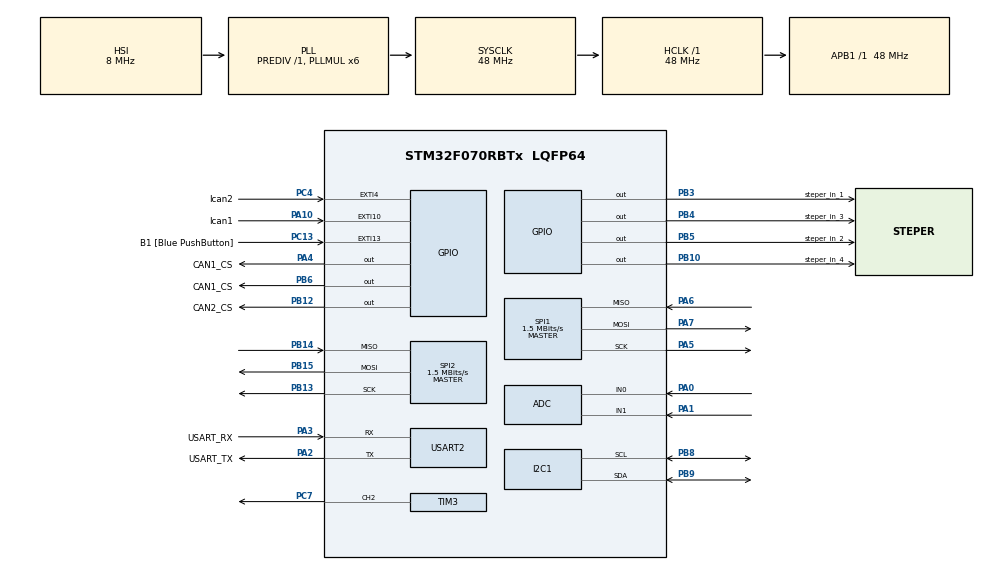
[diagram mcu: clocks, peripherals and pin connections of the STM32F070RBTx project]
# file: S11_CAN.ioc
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ADC.ContinuousConvMode=ENABLE
ADC.SamplingTime=ADC_SAMPLETIME_41CYCLES_5
FREERTOS.BinarySemaphores01=uart_tx_sem,Dynamic,NULL;CAN_sem,Dynamic,NULL
FREERTOS.Queues01=uart_rx_queue,4,uint8_t,0,Dynamic,NULL,NULL
FREERTOS.Tasks01=defaultTask,8,128,StartDefaultTask,Default,NULL,Dynamic,NULL,NULL;uart_rx,32,128,uart_rx_task,Default,NULL,Dynamic,NULL,NULL;adc,24,128,adc_task,Default,NULL,Dynamic,NULL,NULL;stepper,24,128,stepper_task,Default,NULL,Dynamic,NULL,NULL;servo,24,128,servo_Task,Default,NULL,Dynamic,NULL,NULL;enviar_estado,24,128,enviar_estado_Task,Default,NULL,Dynamic,NULL,NULL;enviar_tmp,24,128,enviar_tmp_task,Default,NULL,Dynamic,NULL,NULL;oled,24,128,oled_Task,Default,NULL,Dynamic,NULL,NULL;CAN_remote,24,128,CAN_remote_task,Default,NULL,Dynamic,NULL,NULL
FREERTOS.configTOTAL_HEAP_SIZE=8000
FREERTOS.configUSE_NEWLIB_REENTRANT=1
Mcu.Family=STM32F0
Mcu.Name=STM32F070RBTx
Mcu.Package=LQFP64
NVIC.EXTI4_15_IRQn=true\:3\:0\:false\:false\:true\:true\:true\:true
NVIC.TIM1_BRK_UP_TRG_COM_IRQn=true\:0\:0\:false\:false\:true\:false\:false\:true
NVIC.TimeBase=TIM1_BRK_UP_TRG_COM_IRQn
NVIC.TimeBaseIP=TIM1
NVIC.USART2_IRQn=true\:3\:0\:false\:false\:true\:true\:true\:true
PA0.Mode=IN0
PA0.Signal=ADC_IN0
PA1.Mode=IN1
PA1.Signal=ADC_IN1
PA10.GPIO_Label=Ican1
PA10.GPIO_PuPd=GPIO_PULLDOWN
PA10.Signal=GPXTI10
PA13.GPIO_Label=TMS
PA13.Mode=Serial_Wire
PA13.Signal=SYS_SWDIO
PA14.GPIO_Label=TCK
PA14.Mode=Serial_Wire
PA14.Signal=SYS_SWCLK
PA2.GPIO_Label=USART_TX
PA2.Mode=Asynchronous
PA2.Signal=USART2_TX
PA3.GPIO_Label=USART_RX
PA3.Mode=Asynchronous
PA3.Signal=USART2_RX
PA4.GPIO_Label=CAN1_CS
PA4.Signal=GPIO_Output
PA5.Mode=Full_Duplex_Master
PA5.Signal=SPI1_SCK
PA6.Mode=Full_Duplex_Master
PA6.Signal=SPI1_MISO
PA7.Mode=Full_Duplex_Master
PA7.Signal=SPI1_MOSI
PB10.GPIO_Label=steper_in_4
PB10.Signal=GPIO_Output
PB12.GPIO_Label=CAN2_CS
PB12.Signal=GPIO_Output
PB13.Mode=Full_Duplex_Master
PB13.Signal=SPI2_SCK
PB14.Mode=Full_Duplex_Master
PB14.Signal=SPI2_MISO
PB15.Mode=Full_Duplex_Master
PB15.Signal=SPI2_MOSI
PB3.GPIO_Label=steper_in_1
PB3.Signal=GPIO_Output
PB4.GPIO_Label=steper_in_3
PB4.Signal=GPIO_Output
PB5.GPIO_Label=steper_in_2
PB5.Signal=GPIO_Output
PB6.GPIO_Label=CAN1_CS
PB6.Signal=GPIO_Output
PB8.GPIO_PuPdOD=GPIO_NOPULL
PB8.Mode=I2C
PB8.Signal=I2C1_SCL
PB9.GPIO_PuPdOD=GPIO_NOPULL
PB9.Mode=I2C
PB9.Signal=I2C1_SDA
PC13.GPIO_Label=B1 [Blue PushButton]
PC13.GPIO_ModeDefaultEXTI=GPIO_MODE_IT_FALLING
PC13.Signal=GPXTI13
PC14-OSC32_IN.GPIO_Label=RCC_OSC32_IN
PC14-OSC32_IN.Mode=LSE-External-Oscillator
PC14-OSC32_IN.Signal=RCC_OSC32_IN
PC15-OSC32_OUT.GPIO_Label=RCC_OSC32_OUT
PC15-OSC32_OUT.Mode=LSE-External-Oscillator
PC15-OSC32_OUT.Signal=RCC_OSC32_OUT
PC4.GPIO_Label=Ican2
PC4.GPIO_PuPd=GPIO_PULLDOWN
PC4.Signal=GPXTI4
PC7.Signal=S_TIM3_CH2
PF0-OSC_IN.GPIO_Label=RCC_OSC_IN
PF0-OSC_IN.Mode=HSE-External-Clock-Source
PF0-OSC_IN.Signal=RCC_OSC_IN
PF1-OSC_OUT.GPIO_Label=RCC_OSC_OUT
PF1-OSC_OUT.Signal=RCC_OSC_OUT
ProjectManager.HeapSize=0x200
ProjectManager.StackSize=0x400
ProjectManager.TargetToolchain=STM32CubeIDE
RCC.AHBFreq_Value=48000000
RCC.APB1Freq_Value=48000000
RCC.APB1TimFreq_Value=48000000
RCC.HCLKFreq_Value=48000000
RCC.PLLMUL=RCC_PLL_MUL6
RCC.SYSCLKFreq_VALUE=48000000
RCC.SYSCLKSource=RCC_SYSCLKSOURCE_PLLCLK
SH.S_TIM3_CH2.0=TIM3_CH2,PWM Generation2 CH2
SPI1.BaudRatePrescaler=SPI_BAUDRATEPRESCALER_32
SPI1.CalculateBaudRate=1.5 MBits/s
SPI1.DataSize=SPI_DATASIZE_8BIT
SPI1.Direction=SPI_DIRECTION_2LINES
SPI1.Mode=SPI_MODE_MASTER
SPI1.NSSPMode=SPI_NSS_PULSE_DISABLE
SPI1.VirtualType=VM_MASTER
SPI2.BaudRatePrescaler=SPI_BAUDRATEPRESCALER_32
SPI2.CalculateBaudRate=1.5 MBits/s
SPI2.DataSize=SPI_DATASIZE_8BIT
SPI2.Direction=SPI_DIRECTION_2LINES
SPI2.Mode=SPI_MODE_MASTER
SPI2.NSSPMode=SPI_NSS_PULSE_DISABLE
SPI2.VirtualType=VM_MASTER
TIM3.Channel-PWM\ Generation2\ CH2=TIM_CHANNEL_2
TIM3.Period=19999
TIM3.Prescaler=47
USART2.VirtualMode-Asynchronous=VM_ASYNC
VP_FREERTOS_VS_CMSIS_V2.Mode=CMSIS_V2
VP_SYS_VS_tim1.Mode=TIM1
VP_TIM3_VS_ClockSourceINT.Mode=Internal
board=NUCLEO-F070RB

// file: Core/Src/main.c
/* USER CODE BEGIN Header */
/**
  ******************************************************************************
  * @file           : main.c
  * @brief          : Main program body
  ******************************************************************************
  * @attention
  *
  * <h2><center>&copy; Copyright (c) 2021 STMicroelectronics.
  * All rights reserved.</center></h2>
  *
  * This software component is licensed by ST under BSD 3-Clause license,
  * the "License"; You may not use this file except in compliance with the
  * License. You may obtain a copy of the License at:
  *                        opensource.org/licenses/BSD-3-Clause
  *
  ******************************************************************************
  */
/* USER CODE END Header */
#include "main.h"
#include "cmsis_os.h"

/* USER CODE BEGIN Includes */
#include "stdio.h"
#include "stdbool.h"
#include "ssd1306.h"
#include "CANSPI.h"
/* USER CODE END Includes */

/* USER CODE BEGIN PD */
#define CAN1 &hspi1
#define CAN2 &hspi2
/* USER CODE END PD */

ADC_HandleTypeDef hadc;

I2C_HandleTypeDef hi2c1;

SPI_HandleTypeDef hspi1;
SPI_HandleTypeDef hspi2;

TIM_HandleTypeDef htim3;

UART_HandleTypeDef huart2;

/* Definitions for defaultTask */
osThreadId_t defaultTaskHandle;
const osThreadAttr_t defaultTask_attributes = {
  .name = "defaultTask",
  .priority = (osPriority_t) osPriorityLow,
  .stack_size = 128 * 4
};
/* Definitions for uart_rx */
osThreadId_t uart_rxHandle;
const osThreadAttr_t uart_rx_attributes = {
  .name = "uart_rx",
  .priority = (osPriority_t) osPriorityAboveNormal,
  .stack_size = 128 * 4
};
/* Definitions for adc */
osThreadId_t adcHandle;
const osThreadAttr_t adc_attributes = {
  .name = "adc",
  .priority = (osPriority_t) osPriorityNormal,
  .stack_size = 128 * 4
};
/* Definitions for stepper */
osThreadId_t stepperHandle;
const osThreadAttr_t stepper_attributes = {
  .name = "stepper",
  .priority = (osPriority_t) osPriorityNormal,
  .stack_size = 128 * 4
};
/* Definitions for servo */
osThreadId_t servoHandle;
const osThreadAttr_t servo_attributes = {
  .name = "servo",
  .priority = (osPriority_t) osPriorityNormal,
  .stack_size = 128 * 4
};
/* Definitions for enviar_estado */
osThreadId_t enviar_estadoHandle;
const osThreadAttr_t enviar_estado_attributes = {
  .name = "enviar_estado",
  .priority = (osPriority_t) osPriorityNormal,
  .stack_size = 128 * 4
};
/* Definitions for enviar_tmp */
osThreadId_t enviar_tmpHandle;
const osThreadAttr_t enviar_tmp_attributes = {
  .name = "enviar_tmp",
  .priority = (osPriority_t) osPriorityNormal,
  .stack_size = 128 * 4
};
/* Definitions for oled */
osThreadId_t oledHandle;
const osThreadAttr_t oled_attributes = {
  .name = "oled",
  .priority = (osPriority_t) osPriorityNormal,
  .stack_size = 128 * 4
};
/* Definitions for CAN_remote */
osThreadId_t CAN_remoteHandle;
const osThreadAttr_t CAN_remote_attributes = {
  .name = "CAN_remote",
  .priority = (osPriority_t) osPriorityNormal,
  .stack_size = 128 * 4
};
/* Definitions for uart_rx_queue */
osMessageQueueId_t uart_rx_queueHandle;
const osMessageQueueAttr_t uart_rx_queue_attributes = {
  .name = "uart_rx_queue"
};
/* Definitions for uart_tx_sem */
osSemaphoreId_t uart_tx_semHandle;
const osSemaphoreAttr_t uart_tx_sem_attributes = {
  .name = "uart_tx_sem"
};
/* Definitions for CAN_sem */
osSemaphoreId_t CAN_semHandle;
const osSemaphoreAttr_t CAN_sem_attributes = {
  .name = "CAN_sem"
};
/* USER CODE BEGIN PV */
uint8_t rx_data;
uCAN_MSG txMessage;
uCAN_MSG rxMessage;
bool enable_CAN = false;
bool flag_man_remota=false;

/* USER CODE END PV */

void SystemClock_Config(void);
static void MX_GPIO_Init(void);
static void MX_USART2_UART_Init(void);
static void MX_ADC_Init(void);
static void MX_I2C1_Init(void);
static void MX_SPI1_Init(void);
static void MX_SPI2_Init(void);
static void MX_TIM3_Init(void);
void StartDefaultTask(void *argument);
void uart_rx_task(void *argument);
void adc_task(void *argument);
void stepper_task(void *argument);
void servo_Task(void *argument);
void enviar_estado_Task(void *argument);
void enviar_tmp_task(void *argument);
void oled_Task(void *argument);
void CAN_remote_task(void *argument);

/* USER CODE BEGIN 0 */

int temp_rmt_ent, temp_rmt_dec, servo_rmt, rpm_rmt_ent, rpm_rmt_dec;

float temperature, potenciometro, grados;
int entera_TEMP, decimal_TEMP;

float tmp_velocidad=(1/90.0)*1000;
float espera=2000;
float Ta;
float ccr=20000*0.05;
int estado=5, periodo=5;
int controlPP=0;
char direccion='D';

int periodo_TEMP=1000;

uint8_t data_uart_rx, info=0;
bool activar_remota=false;
/* USER CODE END 0 */

int main(void)
{

  /* MCU Configuration--------------------------------------------------------*/

  /* Reset of all peripherals, Initializes the Flash interface and the Systick. */
  HAL_Init();

  /* Configure the system clock */
  SystemClock_Config();

  /* Initialize all configured peripherals */
  MX_GPIO_Init();
  MX_USART2_UART_Init();
  MX_ADC_Init();
  MX_I2C1_Init();
  MX_SPI1_Init();
  MX_SPI2_Init();
  MX_TIM3_Init();
  /* USER CODE BEGIN 2 */

  HAL_TIM_PWM_Start(&htim3, TIM_CHANNEL_2);
  ssd1306_Init();
  /* USER CODE END 2 */

  /* Init scheduler */
  osKernelInitialize();

  /* Create the semaphores(s) */
  /* creation of uart_tx_sem */
  uart_tx_semHandle = osSemaphoreNew(1, 1, &uart_tx_sem_attributes);

  /* creation of CAN_sem */
  CAN_semHandle = osSemaphoreNew(1, 1, &CAN_sem_attributes);

  /* Create the queue(s) */
  /* creation of uart_rx_queue */
  uart_rx_queueHandle = osMessageQueueNew (4, sizeof(uint8_t), &uart_rx_queue_attributes);

  /* Create the thread(s) */
  /* creation of defaultTask */
  defaultTaskHandle = osThreadNew(StartDefaultTask, NULL, &defaultTask_attributes);

  /* creation of uart_rx */
  uart_rxHandle = osThreadNew(uart_rx_task, NULL, &uart_rx_attributes);

  /* creation of adc */
  adcHandle = osThreadNew(adc_task, NULL, &adc_attributes);

  /* creation of stepper */
  stepperHandle = osThreadNew(stepper_task, NULL, &stepper_attributes);

  /* creation of servo */
  servoHandle = osThreadNew(servo_Task, NULL, &servo_attributes);

  /* creation of enviar_estado */
  enviar_estadoHandle = osThreadNew(enviar_estado_Task, NULL, &enviar_estado_attributes);

  /* creation of enviar_tmp */
  enviar_tmpHandle = osThreadNew(enviar_tmp_task, NULL, &enviar_tmp_attributes);

  /* creation of oled */
  oledHandle = osThreadNew(oled_Task, NULL, &oled_attributes);

  /* creation of CAN_remote */
  CAN_remoteHandle = osThreadNew(CAN_remote_task, NULL, &CAN_remote_attributes);

  /* USER CODE BEGIN RTOS_THREADS */
  /* add threads, ... */
	osThreadSuspend(enviar_tmpHandle);
	osThreadSuspend(stepperHandle);
	osThreadSuspend(oledHandle);
	//osThreadSuspend(CAN_remoteHandle);

  /* USER CODE END RTOS_THREADS */

  /* Start scheduler */
  osKernelStart();

  /* We should never get here as control is now taken by the scheduler */
  /* Infinite loop */
  while (1)
  {

  }
}

void SystemClock_Config(void)
{
  RCC_OscInitTypeDef RCC_OscInitStruct = {0};
  RCC_ClkInitTypeDef RCC_ClkInitStruct = {0};
  RCC_PeriphCLKInitTypeDef PeriphClkInit = {0};

  /** Initializes the RCC Oscillators according to the specified parameters
  * in the RCC_OscInitTypeDef structure.
  */
  RCC_OscInitStruct.OscillatorType = RCC_OSCILLATORTYPE_HSI|RCC_OSCILLATORTYPE_HSI14;
  RCC_OscInitStruct.HSIState = RCC_HSI_ON;
  RCC_OscInitStruct.HSI14State = RCC_HSI14_ON;
  RCC_OscInitStruct.HSICalibrationValue = RCC_HSICALIBRATION_DEFAULT;
  RCC_OscInitStruct.HSI14CalibrationValue = 16;
  RCC_OscInitStruct.PLL.PLLState = RCC_PLL_ON;
  RCC_OscInitStruct.PLL.PLLSource = RCC_PLLSOURCE_HSI;
  RCC_OscInitStruct.PLL.PLLMUL = RCC_PLL_MUL6;
  RCC_OscInitStruct.PLL.PREDIV = RCC_PREDIV_DIV1;
  if (HAL_RCC_OscConfig(&RCC_OscInitStruct) != HAL_OK)
  {
    Error_Handler();
  }
  /** Initializes the CPU, AHB and APB buses clocks
  */
  RCC_ClkInitStruct.ClockType = RCC_CLOCKTYPE_HCLK|RCC_CLOCKTYPE_SYSCLK
                              |RCC_CLOCKTYPE_PCLK1;
  RCC_ClkInitStruct.SYSCLKSource = RCC_SYSCLKSOURCE_PLLCLK;
  RCC_ClkInitStruct.AHBCLKDivider = RCC_SYSCLK_DIV1;
  RCC_ClkInitStruct.APB1CLKDivider = RCC_HCLK_DIV1;

  if (HAL_RCC_ClockConfig(&RCC_ClkInitStruct, FLASH_LATENCY_1) != HAL_OK)
  {
    Error_Handler();
  }
  PeriphClkInit.PeriphClockSelection = RCC_PERIPHCLK_I2C1;
  PeriphClkInit.I2c1ClockSelection = RCC_I2C1CLKSOURCE_HSI;
  if (HAL_RCCEx_PeriphCLKConfig(&PeriphClkInit) != HAL_OK)
  {
    Error_Handler();
  }
}

static void MX_ADC_Init(void)
{

  ADC_ChannelConfTypeDef sConfig = {0};

  /** Configure the global features of the ADC (Clock, Resolution, Data Alignment and number of conversion)
  */
  hadc.Instance = ADC1;
  hadc.Init.ClockPrescaler = ADC_CLOCK_ASYNC_DIV1;
  hadc.Init.Resolution = ADC_RESOLUTION_12B;
  hadc.Init.DataAlign = ADC_DATAALIGN_RIGHT;
  hadc.Init.ScanConvMode = ADC_SCAN_DIRECTION_FORWARD;
  hadc.Init.EOCSelection = ADC_EOC_SINGLE_CONV;
  hadc.Init.LowPowerAutoWait = DISABLE;
  hadc.Init.LowPowerAutoPowerOff = DISABLE;
  hadc.Init.ContinuousConvMode = ENABLE;
  hadc.Init.DiscontinuousConvMode = DISABLE;
  hadc.Init.ExternalTrigConv = ADC_SOFTWARE_START;
  hadc.Init.ExternalTrigConvEdge = ADC_EXTERNALTRIGCONVEDGE_NONE;
  hadc.Init.DMAContinuousRequests = DISABLE;
  hadc.Init.Overrun = ADC_OVR_DATA_PRESERVED;
  if (HAL_ADC_Init(&hadc) != HAL_OK)
  {
    Error_Handler();
  }
  /** Configure for the selected ADC regular channel to be converted.
  */
  sConfig.Channel = ADC_CHANNEL_0;
  sConfig.Rank = ADC_RANK_CHANNEL_NUMBER;
  sConfig.SamplingTime = ADC_SAMPLETIME_41CYCLES_5;
  if (HAL_ADC_ConfigChannel(&hadc, &sConfig) != HAL_OK)
  {
    Error_Handler();
  }
  /** Configure for the selected ADC regular channel to be converted.
  */
  sConfig.Channel = ADC_CHANNEL_1;
  if (HAL_ADC_ConfigChannel(&hadc, &sConfig) != HAL_OK)
  {
    Error_Handler();
  }

}

static void MX_I2C1_Init(void)
{

  hi2c1.Instance = I2C1;
  hi2c1.Init.Timing = 0x2000090E;
  hi2c1.Init.OwnAddress1 = 0;
  hi2c1.Init.AddressingMode = I2C_ADDRESSINGMODE_7BIT;
  hi2c1.Init.DualAddressMode = I2C_DUALADDRESS_DISABLE;
  hi2c1.Init.OwnAddress2 = 0;
  hi2c1.Init.OwnAddress2Masks = I2C_OA2_NOMASK;
  hi2c1.Init.GeneralCallMode = I2C_GENERALCALL_DISABLE;
  hi2c1.Init.NoStretchMode = I2C_NOSTRETCH_DISABLE;
  if (HAL_I2C_Init(&hi2c1) != HAL_OK)
  {
    Error_Handler();
  }
  /** Configure Analogue filter
  */
  if (HAL_I2CEx_ConfigAnalogFilter(&hi2c1, I2C_ANALOGFILTER_ENABLE) != HAL_OK)
  {
    Error_Handler();
  }
  /** Configure Digital filter
  */
  if (HAL_I2CEx_ConfigDigitalFilter(&hi2c1, 0) != HAL_OK)
  {
    Error_Handler();
  }

}

static void MX_SPI1_Init(void)
{

  /* SPI1 parameter configuration*/
  hspi1.Instance = SPI1;
  hspi1.Init.Mode = SPI_MODE_MASTER;
  hspi1.Init.Direction = SPI_DIRECTION_2LINES;
  hspi1.Init.DataSize = SPI_DATASIZE_8BIT;
  hspi1.Init.CLKPolarity = SPI_POLARITY_LOW;
  hspi1.Init.CLKPhase = SPI_PHASE_1EDGE;
  hspi1.Init.NSS = SPI_NSS_SOFT;
  hspi1.Init.BaudRatePrescaler = SPI_BAUDRATEPRESCALER_32;
  hspi1.Init.FirstBit = SPI_FIRSTBIT_MSB;
  hspi1.Init.TIMode = SPI_TIMODE_DISABLE;
  hspi1.Init.CRCCalculation = SPI_CRCCALCULATION_DISABLE;
  hspi1.Init.CRCPolynomial = 7;
  hspi1.Init.CRCLength = SPI_CRC_LENGTH_DATASIZE;
  hspi1.Init.NSSPMode = SPI_NSS_PULSE_DISABLE;
  if (HAL_SPI_Init(&hspi1) != HAL_OK)
  {
    Error_Handler();
  }

}

static void MX_SPI2_Init(void)
{

  /* SPI2 parameter configuration*/
  hspi2.Instance = SPI2;
  hspi2.Init.Mode = SPI_MODE_MASTER;
  hspi2.Init.Direction = SPI_DIRECTION_2LINES;
  hspi2.Init.DataSize = SPI_DATASIZE_8BIT;
  hspi2.Init.CLKPolarity = SPI_POLARITY_LOW;
  hspi2.Init.CLKPhase = SPI_PHASE_1EDGE;
  hspi2.Init.NSS = SPI_NSS_SOFT;
  hspi2.Init.BaudRatePrescaler = SPI_BAUDRATEPRESCALER_32;
  hspi2.Init.FirstBit = SPI_FIRSTBIT_MSB;
  hspi2.Init.TIMode = SPI_TIMODE_DISABLE;
  hspi2.Init.CRCCalculation = SPI_CRCCALCULATION_DISABLE;
  hspi2.Init.CRCPolynomial = 7;
  hspi2.Init.CRCLength = SPI_CRC_LENGTH_DATASIZE;
  hspi2.Init.NSSPMode = SPI_NSS_PULSE_DISABLE;
  if (HAL_SPI_Init(&hspi2) != HAL_OK)
  {
    Error_Handler();
  }

}

static void MX_TIM3_Init(void)
{

  TIM_ClockConfigTypeDef sClockSourceConfig = {0};
  TIM_MasterConfigTypeDef sMasterConfig = {0};
  TIM_OC_InitTypeDef sConfigOC = {0};

  htim3.Instance = TIM3;
  htim3.Init.Prescaler = 47;
  htim3.Init.CounterMode = TIM_COUNTERMODE_UP;
  htim3.Init.Period = 19999;
  htim3.Init.ClockDivision = TIM_CLOCKDIVISION_DIV1;
  htim3.Init.AutoReloadPreload = TIM_AUTORELOAD_PRELOAD_DISABLE;
  if (HAL_TIM_Base_Init(&htim3) != HAL_OK)
  {
    Error_Handler();
  }
  sClockSourceConfig.ClockSource = TIM_CLOCKSOURCE_INTERNAL;
  if (HAL_TIM_ConfigClockSource(&htim3, &sClockSourceConfig) != HAL_OK)
  {
    Error_Handler();
  }
  if (HAL_TIM_PWM_Init(&htim3) != HAL_OK)
  {
    Error_Handler();
  }
  sMasterConfig.MasterOutputTrigger = TIM_TRGO_RESET;
  sMasterConfig.MasterSlaveMode = TIM_MASTERSLAVEMODE_DISABLE;
  if (HAL_TIMEx_MasterConfigSynchronization(&htim3, &sMasterConfig) != HAL_OK)
  {
    Error_Handler();
  }
  sConfigOC.OCMode = TIM_OCMODE_PWM1;
  sConfigOC.Pulse = 0;
  sConfigOC.OCPolarity = TIM_OCPOLARITY_HIGH;
  sConfigOC.OCFastMode = TIM_OCFAST_DISABLE;
  if (HAL_TIM_PWM_ConfigChannel(&htim3, &sConfigOC, TIM_CHANNEL_2) != HAL_OK)
  {
    Error_Handler();
  }
  HAL_TIM_MspPostInit(&htim3);

}

static void MX_USART2_UART_Init(void)
{

  huart2.Instance = USART2;
  huart2.Init.BaudRate = 38400;
  huart2.Init.WordLength = UART_WORDLENGTH_8B;
  huart2.Init.StopBits = UART_STOPBITS_1;
  huart2.Init.Parity = UART_PARITY_NONE;
  huart2.Init.Mode = UART_MODE_TX_RX;
  huart2.Init.HwFlowCtl = UART_HWCONTROL_NONE;
  huart2.Init.OverSampling = UART_OVERSAMPLING_16;
  huart2.Init.OneBitSampling = UART_ONE_BIT_SAMPLE_DISABLE;
  huart2.AdvancedInit.AdvFeatureInit = UART_ADVFEATURE_NO_INIT;
  if (HAL_UART_Init(&huart2) != HAL_OK)
  {
    Error_Handler();
  }

}

static void MX_GPIO_Init(void)
{
  GPIO_InitTypeDef GPIO_InitStruct = {0};

  /* GPIO Ports Clock Enable */
  __HAL_RCC_GPIOC_CLK_ENABLE();
  __HAL_RCC_GPIOF_CLK_ENABLE();
  __HAL_RCC_GPIOA_CLK_ENABLE();
  __HAL_RCC_GPIOB_CLK_ENABLE();

  /*Configure GPIO pin Output Level */
  HAL_GPIO_WritePin(CAN1_CS_GPIO_Port, CAN1_CS_Pin, GPIO_PIN_RESET);

  /*Configure GPIO pin Output Level */
  HAL_GPIO_WritePin(GPIOB, steper_in_4_Pin|CAN2_CS_Pin|steper_in_1_Pin|steper_in_3_Pin
                          |steper_in_2_Pin|CAN1_CSB6_Pin, GPIO_PIN_RESET);

  /*Configure GPIO pin : B1_Pin */
  GPIO_InitStruct.Pin = B1_Pin;
  GPIO_InitStruct.Mode = GPIO_MODE_IT_FALLING;
  GPIO_InitStruct.Pull = GPIO_NOPULL;
  HAL_GPIO_Init(B1_GPIO_Port, &GPIO_InitStruct);

  /*Configure GPIO pin : CAN1_CS_Pin */
  GPIO_InitStruct.Pin = CAN1_CS_Pin;
  GPIO_InitStruct.Mode = GPIO_MODE_OUTPUT_PP;
  GPIO_InitStruct.Pull = GPIO_NOPULL;
  GPIO_InitStruct.Speed = GPIO_SPEED_FREQ_LOW;
  HAL_GPIO_Init(CAN1_CS_GPIO_Port, &GPIO_InitStruct);

  /*Configure GPIO pin : Ican2_Pin */
  GPIO_InitStruct.Pin = Ican2_Pin;
  GPIO_InitStruct.Mode = GPIO_MODE_IT_RISING;
  GPIO_InitStruct.Pull = GPIO_PULLDOWN;
  HAL_GPIO_Init(Ican2_GPIO_Port, &GPIO_InitStruct);

  /*Configure GPIO pins : steper_in_4_Pin CAN2_CS_Pin steper_in_1_Pin steper_in_3_Pin
                           steper_in_2_Pin CAN1_CSB6_Pin */
  GPIO_InitStruct.Pin = steper_in_4_Pin|CAN2_CS_Pin|steper_in_1_Pin|steper_in_3_Pin
                          |steper_in_2_Pin|CAN1_CSB6_Pin;
  GPIO_InitStruct.Mode = GPIO_MODE_OUTPUT_PP;
  GPIO_InitStruct.Pull = GPIO_NOPULL;
  GPIO_InitStruct.Speed = GPIO_SPEED_FREQ_LOW;
  HAL_GPIO_Init(GPIOB, &GPIO_InitStruct);

  /*Configure GPIO pin : Ican1_Pin */
  GPIO_InitStruct.Pin = Ican1_Pin;
  GPIO_InitStruct.Mode = GPIO_MODE_IT_RISING;
  GPIO_InitStruct.Pull = GPIO_PULLDOWN;
  HAL_GPIO_Init(Ican1_GPIO_Port, &GPIO_InitStruct);

  /* EXTI interrupt init*/
  HAL_NVIC_SetPriority(EXTI4_15_IRQn, 3, 0);
  HAL_NVIC_EnableIRQ(EXTI4_15_IRQn);

}

/* USER CODE BEGIN 4 */
void HAL_UART_TxCpltCallback(UART_HandleTypeDef *huart) {
	osSemaphoreRelease(uart_tx_semHandle);
}

void HAL_UART_RxCpltCallback(UART_HandleTypeDef *huart) {
	osMessageQueuePut(uart_rx_queueHandle, &rx_data, 0U, 0U);
	HAL_UART_Receive_IT(&huart2, &rx_data, sizeof(rx_data));
}

void HAL_GPIO_EXTI_Callback(uint16_t GPIO_Pin)
{
	if (GPIO_Pin == Ican1_Pin || GPIO_Pin==Ican2_Pin) {
		osSemaphoreRelease(CAN_semHandle);
	}
}

/* USER CODE END 4 */

void StartDefaultTask(void *argument)
{
  /* USER CODE BEGIN 5 */
  /* Infinite loop */
	osThreadSuspend(defaultTaskHandle);
  for(;;)
  {
	  //HAL_GPIO_TogglePin(GPIOA, LD2_Pin);
	  osDelay(2000);
  }
  /* USER CODE END 5 */
}

void uart_rx_task(void *argument)
{
  /* USER CODE BEGIN uart_rx_task */
	HAL_UART_Receive_IT(&huart2, &data_uart_rx, 1);
		uint8_t trama[4], seg, vel[3];
		float veltotal;

		osThreadSuspend(servoHandle);
		osThreadSuspend(stepperHandle);
		osThreadSuspend(oledHandle);
		osThreadSuspend(enviar_tmpHandle);
		osThreadSuspend(CAN_remoteHandle);

		  for(;;)
		  {
			  osMessageQueueGet(uart_rx_queueHandle, &trama[0], 0, osWaitForever);
			  osMessageQueueGet(uart_rx_queueHandle, &trama[1], 0, osWaitForever);
			  osMessageQueueGet(uart_rx_queueHandle, &trama[2], 0, osWaitForever);
			  osMessageQueueGet(uart_rx_queueHandle, &trama[3], 0, osWaitForever);

			if(trama[3]==0xE0){
				switch(trama[0]){
					case 'T':
						osThreadResume(enviar_tmpHandle);
						periodo_TEMP=trama[1]*10;
						break;
					case 't':
						osThreadSuspend(enviar_tmpHandle);
						break;
					case 'M':
						osThreadResume(stepperHandle);
						periodo=(60*1000)/(2048.0*trama[1]);

						if(periodo<2){
							periodo=2;
						}
						break;
					case 'S':
						estado=5;
						osThreadResume(servoHandle);
						grados=trama[1];
						Ta=grados/90.0 +1;
						ccr=Ta*1000;
						htim3.Instance -> CCR2 = ccr;
						break;
					case 'X':
						osThreadResume(oledHandle);
						info=1;
						break;
					case 'C':
						osThreadSuspend(servoHandle);
						osThreadSuspend(stepperHandle);
						info=0;
						osThreadSuspend(enviar_tmpHandle);
						osThreadSuspend(CAN_remoteHandle);
						break;
					case 'D':
						direccion='D';
						osThreadResume(stepperHandle);
						break;
					case 'I':
						direccion='I';
						osThreadResume(stepperHandle);
						break;
					case 'P':
						osThreadResume(servoHandle);
						estado=4;
						break;
					case 'A':
						osThreadSuspend(servoHandle);
						estado=0;
						espera=trama[1]*1000;
						tmp_velocidad=(1000/trama[2]);
						osThreadResume(servoHandle);
						break;
					case 'R':
						activar_remota=true;
						osThreadResume(CAN_remoteHandle);
						break;
					}
			}
		    osDelay(10);
		  }
  /* USER CODE END uart_rx_task */
}

void adc_task(void *argument)
{
  /* USER CODE BEGIN adc_task */
	/* Infinite loop */
	uint16_t adc_value;
	float adc_in_0_voltage;

	HAL_ADCEx_Calibration_Start(&hadc);

	for (;;) {
		//CONVERSIÓN CANAL 0
			  HAL_ADC_Start(&hadc);
			  //Preguntar si la conversion del canal 1 esta lista
			  while(HAL_ADC_PollForConversion(&hadc,1) != HAL_OK);

			  adc_value = HAL_ADC_GetValue(&hadc);

			  //HAL_ADC_Stop(&hadc);

			  adc_in_0_voltage = (adc_value/4096.0)*3.3;

			  temperature= adc_in_0_voltage/0.010;

			  //CONVERSIÓN CANAL 1
			  //HAL_ADC_Start(&hadc);
			  //Preguntar si la conversion del canal 2 esta lista
			  while(HAL_ADC_PollForConversion(&hadc,1) != HAL_OK);

			  adc_value = HAL_ADC_GetValue(&hadc);

			  HAL_ADC_Stop(&hadc);

			  adc_in_0_voltage = (adc_value/4096.0)*3.3;

			  potenciometro = adc_in_0_voltage;

		    osDelay(10);
		  }
  /* USER CODE END adc_task */
}

void stepper_task(void *argument)
{
  /* USER CODE BEGIN stepper_task */
	char numfase=1;
	 /* Infinite loop */
	 for(;;){
		 switch(numfase) {
			 case 1:
				  HAL_GPIO_WritePin(GPIOB, steper_in_1_Pin, 1);
				  HAL_GPIO_WritePin(GPIOB, steper_in_2_Pin, 1);
				  HAL_GPIO_WritePin(GPIOB, steper_in_3_Pin, 0);
				  HAL_GPIO_WritePin(GPIOB, steper_in_4_Pin, 0);
				  break;
			  case 2:
				  HAL_GPIO_WritePin(GPIOB, steper_in_1_Pin, 0);
				  HAL_GPIO_WritePin(GPIOB, steper_in_2_Pin, 1);
				  HAL_GPIO_WritePin(GPIOB, steper_in_3_Pin, 1);
				  HAL_GPIO_WritePin(GPIOB, steper_in_4_Pin, 0);
				  break;
			  case 3:
				  HAL_GPIO_WritePin(GPIOB, steper_in_1_Pin, 0);
				  HAL_GPIO_WritePin(GPIOB, steper_in_2_Pin, 0);
				  HAL_GPIO_WritePin(GPIOB, steper_in_3_Pin, 1);
				  HAL_GPIO_WritePin(GPIOB, steper_in_4_Pin, 1);
				  break;
			  case 4:
				  HAL_GPIO_WritePin(GPIOB, steper_in_1_Pin, 1);
				  HAL_GPIO_WritePin(GPIOB, steper_in_2_Pin, 0);
				  HAL_GPIO_WritePin(GPIOB, steper_in_3_Pin, 0);
				  HAL_GPIO_WritePin(GPIOB, steper_in_4_Pin, 1);
				  break;
			  }

		  if(direccion=='D'){
			numfase++;
			  if(numfase>=5)
				  numfase=1;
		  }
		  if(direccion=='I'){
		  	numfase--;
		  		if(numfase<=0)
		  			numfase=4;
		  }
	  osDelay(periodo);
	 }
  /* USER CODE END stepper_task */
}

void servo_Task(void *argument)
{
  /* USER CODE BEGIN servo_Task */
	/* Infinite loop */
	for (;;) {
		switch(estado){
		  case 0:
			  grados=0;
			  estado=1;
			  osDelay(10);
			  break;
		  case 1:
			grados++;
			 Ta=grados/90 +1;
			 ccr=Ta*1000;
			 htim3.Instance -> CCR2 = ccr;
				if(grados==90)
					estado=2;
			osDelay(tmp_velocidad);
			break;
		  case 2:
			estado=3;
			osDelay(espera);
				  break;
		  case 3:
			  grados--;
			  Ta=grados/90 +1;				//Ta=1
			  ccr=Ta*1000;
			  htim3.Instance -> CCR2 = ccr;
				  if(grados==0)
					  estado=5;
			  osDelay(tmp_velocidad);
				  break;
		  case 4:
			   grados = (90/3.3)*potenciometro;
			   Ta=grados/90.0 +1;				//Ta=1
			   ccr=Ta*1000;
			   htim3.Instance -> CCR2 = ccr;
			   osDelay(50);
			  break;
		  case 5:
			  osDelay(200);
			  break;
		  }
		  //osDelay(10);
	  }
  /* USER CODE END servo_Task */
}

void enviar_estado_Task(void *argument)
{
  /* USER CODE BEGIN enviar_estado_Task */
	/* Infinite loop */
	uint8_t trama[4];

	for (;;) {
		if(flag_man_remota==true){
			osSemaphoreAcquire(uart_tx_semHandle, osWaitForever);
			trama[0]=0x21;
			trama[1]=servo_rmt;
			trama[2]=0xFF;
			trama[3]=0xE0;
			HAL_UART_Transmit_IT(&huart2, trama , 4);

			osSemaphoreAcquire(uart_tx_semHandle, osWaitForever);
			trama[0]=0x31;
			trama[1]=temp_rmt_ent;
			trama[2]=temp_rmt_dec;
			trama[3]=0xE0;
			HAL_UART_Transmit_IT(&huart2, trama , 4);

			osSemaphoreAcquire(uart_tx_semHandle, osWaitForever);
			trama[0]=0x41;
			trama[1]=rpm_rmt_ent;
			trama[2]=rpm_rmt_dec;
			trama[3]=0xE0;
			HAL_UART_Transmit_IT(&huart2, trama , 4);
		}

		osSemaphoreAcquire(uart_tx_semHandle, osWaitForever);
		trama[0]=0x40;
		trama[1]=(60*1000)/(2048.0*periodo);     //(64*4=256 pasos una vuelta * PERIODO(ms))(rev/s) -> pasamos a rad/s
		trama[2]=((60*1000)/(2048.0*periodo)-trama[1])*100;
		trama[3]=0xE0;
		HAL_UART_Transmit_IT(&huart2, trama , 4);

		osSemaphoreAcquire(uart_tx_semHandle, osWaitForever);
		trama[0]=0x20;
		trama[1]=grados;
		trama[2]=0xFF;
		trama[3]=0xE0;
		HAL_UART_Transmit_IT(&huart2, trama , 4);

		osDelay(250);
	}
  /* USER CODE END enviar_estado_Task */
}

void enviar_tmp_task(void *argument)
{
  /* USER CODE BEGIN enviar_tmp_task */
	char msg[10];
		int entera_TEMP, decimal_TEMP;
		uint8_t trama[4];

	  for(;;)
	  {
		  osSemaphoreAcquire(uart_tx_semHandle, osWaitForever);
			trama[0]=0x30;
			trama[1]=temperature;
			trama[2]=(temperature - trama[1])*100;
			trama[3]=0xE0;
			HAL_UART_Transmit_IT(&huart2, trama, 4);

	    osDelay(periodo_TEMP);
	  }
  /* USER CODE END enviar_tmp_task */
}

void oled_Task(void *argument)
{
  /* USER CODE BEGIN oled_Task */
	/* Infinite loop */
	uint8_t y = 0;
	float vel_pp;
	int entera_TEMP, decimal_TEMP, temp, entera_PP, decimal_PP;
	ssd1306_Fill(Black);
	char msg[28];

	  for(;;)
	  {
		  switch(info){
			  case 0:
				ssd1306_Fill(Black);
				ssd1306_UpdateScreen();
				  break;
			  case 1:
				ssd1306_Fill(Black);

				y=0;
				ssd1306_SetCursor(2, y);
				entera_TEMP = temperature;
				decimal_TEMP=(temperature - entera_TEMP)*100;
				sprintf(msg, "Temperatura: %d.%dC", entera_TEMP, decimal_TEMP);
				ssd1306_WriteString(msg, Font_7x10, White);

				y += 10;
				ssd1306_SetCursor(2, y);
				temp=grados;
				sprintf(msg, "Posicion servo: %d ", temp);
				ssd1306_WriteString(msg, Font_7x10, White);

				y += 10;
				ssd1306_SetCursor(2, y);
				vel_pp=(60*1000)/(2048.0*periodo);
				//vel_pp=(2*3.14)/vel_pp;

				entera_PP = vel_pp;
				decimal_PP=(vel_pp - entera_PP)*100;
				sprintf(msg, "Velocidad: %d.%d", entera_PP, decimal_PP);
				ssd1306_WriteString(msg, Font_7x10, White);

				ssd1306_UpdateScreen();
				  break;
		  }
		osDelay(500);
  }
  /* USER CODE END oled_Task */
}

void CAN_remote_task(void *argument)
{
  /* USER CODE BEGIN CAN_remote_task */
	uint8_t tx_buffer[54], i=0;
	bool datos_rmt=false;

	for (i=0; i<54; i++) tx_buffer[i]=0;
	if( CANSPI_Initialize(CAN1)) {
			/*osSemaphoreAcquire(uart_tx_semHandle, portMAX_DELAY);
			sprintf(tx_buffer, "CAN1 initialized OK\n\r");
			HAL_UART_Transmit_IT(&huart2, tx_buffer, sizeof(tx_buffer));*/
			/*txMessage.frame.idType = dSTANDARD_CAN_MSG_ID_2_0B;
			txMessage.frame.id = 0x15;
			txMessage.frame.dlc = 8;
			txMessage.frame.data0 = entera_TEMP;
			txMessage.frame.data1 = decimal_TEMP;
			txMessage.frame.data2 = 6;
			txMessage.frame.data3 = 5;
			txMessage.frame.data4 = 4;
			txMessage.frame.data5 = 3;
			txMessage.frame.data6 = 2;
			txMessage.frame.data7 = 1;
			CANSPI_Transmit(CAN1, &txMessage);
			osSemaphoreAcquire(uart_tx_semHandle, portMAX_DELAY);
			sprintf(tx_buffer, "CAN1 sending Msg...\n\r");
			HAL_UART_Transmit_IT(&huart2, tx_buffer, sizeof(tx_buffer));*/
	  }
	  else
	  {
			osSemaphoreAcquire(uart_tx_semHandle, portMAX_DELAY);
			sprintf(tx_buffer, "Error CAN1 initiali\n\r");
			HAL_UART_Transmit_IT(&huart2, tx_buffer, sizeof(tx_buffer));
	  }
	  osDelay(1000);
	  //for (i=0; i<54; i++) tx_buffer[i]=0;
	  if (CANSPI_Initialize(CAN2)) {
			/*osSemaphoreAcquire(uart_tx_semHandle, portMAX_DELAY);
			sprintf(tx_buffer, "CAN2 initialized OK\n\r");
			HAL_UART_Transmit_IT(&huart2, tx_buffer, sizeof(tx_buffer));*/
			/*txMessage.frame.idType = dSTANDARD_CAN_MSG_ID_2_0B;
			txMessage.frame.id = 0x25;
			txMessage.frame.dlc = 8;
			txMessage.frame.data0 = entera_TEMP;
			txMessage.frame.data1 = decimal_TEMP;
			txMessage.frame.data2 = 3;
			txMessage.frame.data3 = 4;
			txMessage.frame.data4 = 5;
			txMessage.frame.data5 = 6;
			txMessage.frame.data6 = 7;
			txMessage.frame.data7 = 8;
			CANSPI_Transmit(CAN2, &txMessage);*/
			/*osSemaphoreAcquire(uart_tx_semHandle, portMAX_DELAY);
			sprintf(tx_buffer, "CAN2 sending Msg...\n\r");
			HAL_UART_Transmit_IT(&huart2, tx_buffer, sizeof(tx_buffer));*/
	  }
	  else
	  {
			osSemaphoreAcquire(uart_tx_semHandle, portMAX_DELAY);
			sprintf(tx_buffer, "Error CAN2 initiali\n\r");
			HAL_UART_Transmit_IT(&huart2, tx_buffer, sizeof(tx_buffer));

	  }
	  osDelay(1000);

	  /* Infinite loop */
	  for(;;)
	  {
		  //NOSOTROS SOMOS B
		  if(activar_remota==true){
			  	osSemaphoreAcquire(CAN_semHandle, portMAX_DELAY);
				CANSPI_CL_Flag_Int(CAN1);
				txMessage.frame.idType = dSTANDARD_CAN_MSG_ID_2_0B;
				txMessage.frame.id = 0x11;   //QUEREMOS QUE "A" (CAN 2) NOS MANDE LA INFORMACION
				txMessage.frame.dlc = 8;		// LE ENVIAMOS A "A" (CAN 2) UN .id = 0x11
				txMessage.frame.data0 = 0;		//PARA QUE "A" (CAN 2) NOS PASE LOS DATOS
				txMessage.frame.data1 = 0;
				txMessage.frame.data2 = 0;
				txMessage.frame.data3 = 0;
				txMessage.frame.data4 = 0;
				txMessage.frame.data5 = 0;
				txMessage.frame.data6 = 0;
				txMessage.frame.data7 = 0;
				CANSPI_Transmit(CAN1, &txMessage); //Se lo mando al CAN 2

				activar_remota=false;
		  }
		    if(CANSPI_Receive(CAN1, &rxMessage))
		    {
				if(rxMessage.frame.id==0x15 && rxMessage.frame.dlc==8 &&  rxMessage.frame.data5==0x1 &&
						rxMessage.frame.data6==0xC && rxMessage.frame.data7==0x1){
					//RECIBIMOS LA INFORMACIÓN DE A "CAN 2"
					datos_rmt=true;
					temp_rmt_ent=rxMessage.frame.data0;
					temp_rmt_dec=rxMessage.frame.data1;
					servo_rmt = rxMessage.frame.data2;
					rpm_rmt_ent = rxMessage.frame.data3;
					rpm_rmt_dec = rxMessage.frame.data4;
				}
		    } else
		    if(CANSPI_Receive(CAN2, &rxMessage))
		    {
				if(rxMessage.frame.id==0x11 && rxMessage.frame.dlc==8 && rxMessage.frame.data0==0 &&
					rxMessage.frame.data1==0 && rxMessage.frame.data2==0 && rxMessage.frame.data3==0 &&
					rxMessage.frame.data4==0 && rxMessage.frame.data5==0 && rxMessage.frame.data6==0 &&
					rxMessage.frame.data7==0){
					// (A)CAN 2 RECIBE SU ID=0x11 Y ACTIVA LA BANDERA PARA ENVIAR SU INFORMACIÓN EN REMOTO
					flag_man_remota=true;
				}
		    }
		    if(flag_man_remota== true){
				//osSemaphoreAcquire(CAN_semHandle, portMAX_DELAY);
		    	//CAN 2 NOS ENVIA LA INFORMACIÓN
				CANSPI_CL_Flag_Int(CAN2);
				txMessage.frame.idType = dSTANDARD_CAN_MSG_ID_2_0B;
				txMessage.frame.id = 0x15;
				txMessage.frame.dlc = 8;
				txMessage.frame.data0 = temperature;
				txMessage.frame.data1 = (temperature - txMessage.frame.data0)*100;
				txMessage.frame.data2 = grados/*servo*/;
				txMessage.frame.data3 =(60*1000)/(2048.0*periodo)/*vel entera*/;
				txMessage.frame.data4 =((60*1000)/(2048.0*periodo)-txMessage.frame.data3)*100/*vel decimal*/;
				txMessage.frame.data5 = 0x1;
				txMessage.frame.data6 = 0xC;
				txMessage.frame.data7 = 0x1;
				CANSPI_Transmit(CAN2, &txMessage);
		    }
		    osDelay(1000);
	  }
  /* USER CODE END CAN_remote_task */
}

 /**
  * @brief  Period elapsed callback in non blocking mode
  * @note   This function is called  when TIM1 interrupt took place, inside
  * HAL_TIM_IRQHandler(). It makes a direct call to HAL_IncTick() to increment
  * a global variable "uwTick" used as application time base.
  * @param  htim : TIM handle
  * @retval None
  */
void HAL_TIM_PeriodElapsedCallback(TIM_HandleTypeDef *htim)
{
  if (htim->Instance == TIM1) {
    HAL_IncTick();
  }
}

void Error_Handler(void)
{
  __disable_irq();
  while (1)
  {
  }
}

/************************ (C) COPYRIGHT STMicroelectronics *****END OF FILE****/
